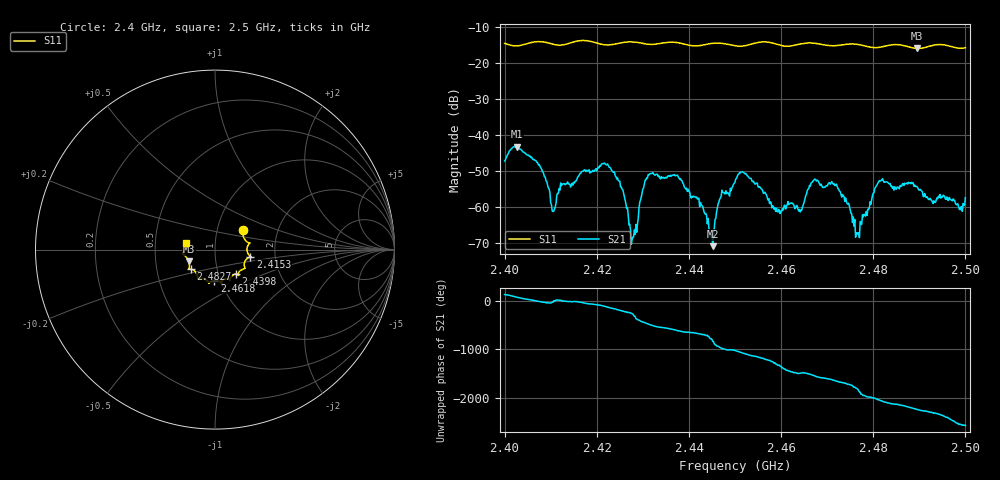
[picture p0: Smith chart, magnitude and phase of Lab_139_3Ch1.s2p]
# Hz S RI R 50
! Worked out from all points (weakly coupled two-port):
!   601 points, 2.4 GHz to 2.5 GHz, reference 50 ohm
!   highest |S21| = -43.24 dB at 2.4027 GHz (marker M1); lowest = -71.0 dB at 2.4452 GHz (marker M2)
!   lowest |S11| = -15.9 dB at 2.4895 GHz (marker M3), VSWR 1.38, Z = 37 - j5.01 ohm
!   |S11| at or under -10 dB: start of sweep to end of sweep
!   S12 and S22 are empty: the file has one direction only
!   S11 on the Smith chart (normalised r, x): 2.4 GHz: 1.33, +0.29; 2.4153 GHz: 1.48, -0.12; 2.4398 GHz: 1.21, -0.34; 2.4618 GHz: 0.94, -0.33; 2.4827 GHz: 0.75, -0.17; 2.5 GHz: 0.72, +0.06
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2.4e9  0.1553 0.1064  -0.00246 0.00357  0 0  0 0
2.402667e9  0.1617 0.0636  0.00245 0.00643  0 0  0 0
2.407667e9  0.196 0.0377  0.00344 -0.00128  0 0  0 0
2.4105e9  0.1824 0.021  0.000711 -0.000476  0 0  0 0
2.415333e9  0.1963 -0.0391  0.00212 -0.000796  0 0  0 0
2.416667e9  0.2023 -0.0431  0.00252 -0.00171  0 0  0 0
2.423333e9  0.1626 -0.0803  -0.00291 -0.00116  0 0  0 0
2.427833e9  0.1675 -0.104  4.5e-05 0.000375  0 0  0 0
2.430833e9  0.1444 -0.1144  -0.000811 -0.00238  0 0  0 0
2.433333e9  0.13 -0.1338  -0.00262 0.000132  0 0  0 0
2.439833e9  0.1154 -0.136  0.000674 0.00161  0 0  0 0
2.445167e9  0.0838 -0.1693  -0.000141 -0.000244  0 0  0 0
2.446833e9  0.0843 -0.17  -0.000424 0.00125  0 0  0 0
2.45e9  0.0652 -0.1622  0.00138 0.0017  0 0  0 0
2.461833e9  -0.00339 -0.1727  0.00107 -0.000199  0 0  0 0
2.466667e9  -0.0346 -0.1879  -2.01e-05 -0.00218  0 0  0 0
2.472e9  -0.0702 -0.1612  -0.00159 0.00131  0 0  0 0
2.476667e9  -0.0961 -0.1549  0.000388 -0.000193  0 0  0 0
2.482667e9  -0.1349 -0.1086  0.00083 0.00204  0 0  0 0
2.483333e9  -0.1399 -0.1083  0.00127 0.00167  0 0  0 0
2.4895e9  -0.1458 -0.0659  0.000273 -0.00188  0 0  0 0
2.5e9  -0.1596 0.0384  0.000842 -0.00103  0 0  0 0
